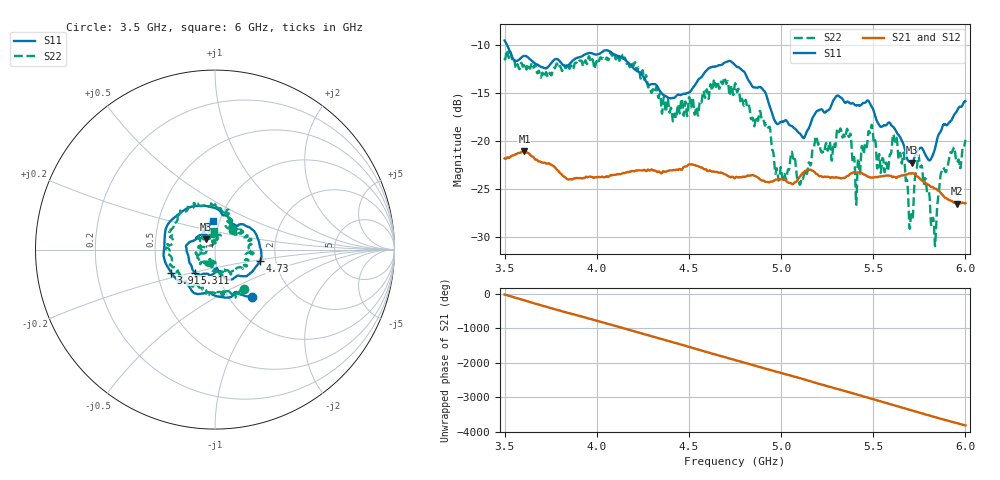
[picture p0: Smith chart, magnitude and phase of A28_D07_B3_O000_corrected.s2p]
! Created with skrf 1.9.0 (http://scikit-rf.org).
# Hz S RI R 50.0
!freq ReS11 ImS11 ReS21 ImS21 ReS12 ImS12 ReS22 ImS22
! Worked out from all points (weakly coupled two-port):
!   1601 points, 3.5 GHz to 6 GHz, reference 50 ohm
!   highest |S21| = -21.09 dB at 3.608 GHz (marker M1); lowest = -26.5 dB at 5.955 GHz (marker M2)
!   lowest |S11| = -22.2 dB at 5.711 GHz (marker M3), VSWR 1.17, Z = 44.8 + j5.22 ohm
!   |S11| at or under -10 dB: 3.514 GHz to end of sweep
!   |S22| runs from -31.0 to -10.5 dB; largest |S21 - S12| = 0.00097
!   S11 on the Smith chart (normalised r, x): 3.5 GHz: 1.27, -0.76; 3.913 GHz: 0.59, -0.16; 4.73 GHz: 1.66, -0.22; 5.311 GHz: 0.78, -0.21; 6 GHz: 0.93, +0.31
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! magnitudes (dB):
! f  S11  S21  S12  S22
! 3.5 GHz  -9.5  -21.8  -21.8  -11.3
! 3.608 GHz  -11.1  -21.1  -21.1  -11.9
! 3.913 GHz  -11.2  -23.9  -23.8  -11.6
! 3.917 GHz  -11.2  -23.9  -23.9  -11.6
! 4.334 GHz  -14.5  -23.2  -23.1  -15.5
! 4.73 GHz  -11.7  -23.8  -23.7  -14.2
! 4.75 GHz  -12.1  -23.9  -23.8  -14.0
! 4.93 GHz  -15.8  -24.3  -24.3  -18.5
! 4.98 GHz  -18.2  -24.0  -24.0  -23.2
! 5.167 GHz  -17.8  -23.1  -23.0  -21.4
! 5.311 GHz  -15.3  -23.8  -23.8  -19.0
! 5.369 GHz  -16.0  -23.6  -23.5  -19.6
! 5.402 GHz  -16.2  -23.3  -23.3  -23.3
! 5.484 GHz  -16.2  -23.8  -23.8  -19.0
! 5.584 GHz  -18.1  -23.6  -23.6  -22.4
! 5.619 GHz  -18.8  -23.8  -23.8  -20.1
! 5.711 GHz  -22.2  -23.3  -23.3  -28.1
! 5.748 GHz  -20.8  -23.8  -23.8  -21.8
! 5.828 GHz  -21.2  -24.9  -24.9  -28.4
! 5.873 GHz  -18.6  -25.6  -25.5  -23.0
! 5.955 GHz  -16.8  -26.5  -26.5  -22.2
! 6 GHz  -15.8  -26.5  -26.4  -19.9
